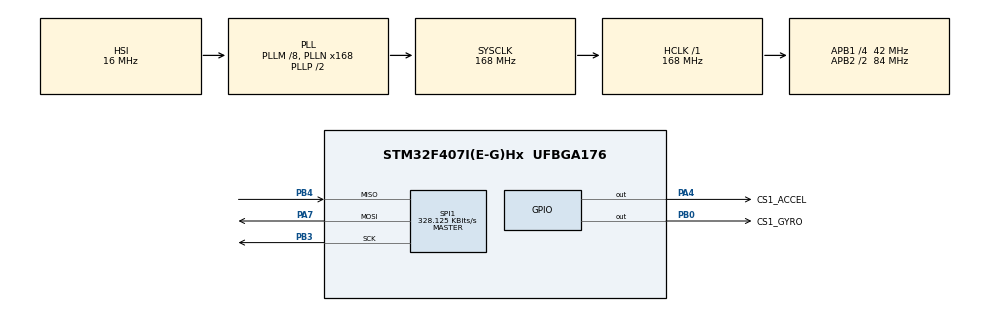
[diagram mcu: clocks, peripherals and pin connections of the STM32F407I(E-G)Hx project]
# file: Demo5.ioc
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Mcu.Family=STM32F4
Mcu.Name=STM32F407I(E-G)Hx
Mcu.Package=UFBGA176
NVIC.PriorityGroup=NVIC_PRIORITYGROUP_4
NVIC.TIM6_DAC_IRQn=true\:0\:0\:false\:false\:true\:true\:true\:true
PA13.Mode=Serial_Wire
PA13.Signal=SYS_JTMS-SWDIO
PA14.Mode=Serial_Wire
PA14.Signal=SYS_JTCK-SWCLK
PA4.GPIO_Label=CS1_ACCEL
PA4.GPIO_PuPd=GPIO_PULLUP
PA4.GPIO_Speed=GPIO_SPEED_FREQ_HIGH
PA4.PinState=GPIO_PIN_SET
PA4.Signal=GPIO_Output
PA7.Mode=Full_Duplex_Master
PA7.Signal=SPI1_MOSI
PB0.GPIO_Label=CS1_GYRO
PB0.GPIO_PuPd=GPIO_PULLUP
PB0.GPIO_Speed=GPIO_SPEED_FREQ_HIGH
PB0.PinState=GPIO_PIN_SET
PB0.Signal=GPIO_Output
PB3.Mode=Full_Duplex_Master
PB3.Signal=SPI1_SCK
PB4.Mode=Full_Duplex_Master
PB4.Signal=SPI1_MISO
PH0-OSC_IN.Mode=HSE-External-Oscillator
PH0-OSC_IN.Signal=RCC_OSC_IN
PH1-OSC_OUT.Mode=HSE-External-Oscillator
PH1-OSC_OUT.Signal=RCC_OSC_OUT
ProjectManager.HeapSize=0x200
ProjectManager.StackSize=0x400
ProjectManager.TargetToolchain=CMake
RCC.48MHZClocksFreq_Value=84000000
RCC.AHBFreq_Value=168000000
RCC.APB1CLKDivider=RCC_HCLK_DIV4
RCC.APB1Freq_Value=42000000
RCC.APB1TimFreq_Value=84000000
RCC.APB2CLKDivider=RCC_HCLK_DIV2
RCC.APB2Freq_Value=84000000
RCC.APB2TimFreq_Value=168000000
RCC.CortexFreq_Value=168000000
RCC.HCLKFreq_Value=168000000
RCC.HSE_VALUE=12000000
RCC.HSI_VALUE=16000000
RCC.LSE_VALUE=32768
RCC.PLLM=8
RCC.PLLN=168
RCC.SYSCLKFreq_VALUE=168000000
RCC.SYSCLKSource=RCC_SYSCLKSOURCE_PLLCLK
RCC.VCOOutputFreq_Value=336000000
SPI1.BaudRatePrescaler=SPI_BAUDRATEPRESCALER_256
SPI1.CLKPhase=SPI_PHASE_2EDGE
SPI1.CLKPolarity=SPI_POLARITY_HIGH
SPI1.CalculateBaudRate=328.125 KBits/s
SPI1.Direction=SPI_DIRECTION_2LINES
SPI1.Mode=SPI_MODE_MASTER
SPI1.VirtualType=VM_MASTER
TIM6.Period=1000-1
TIM6.Prescaler=180-1
VP_TIM6_VS_ClockSourceINT.Mode=Enable_Timer
board=custom

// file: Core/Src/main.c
/* USER CODE BEGIN Header */
/**
  ******************************************************************************
  * @file           : main.c
  * @brief          : Main program body
  ******************************************************************************
  * @attention
  *
  * Copyright (c) 2025 STMicroelectronics.
  * All rights reserved.
  *
  * This software is licensed under terms that can be found in the LICENSE file
  * in the root directory of this software component.
  * If no LICENSE file comes with this software, it is provided AS-IS.
  *
  ******************************************************************************
  */
/* USER CODE END Header */
#include "main.h"
#include "spi.h"
#include "tim.h"
#include "gpio.h"

/* USER CODE BEGIN Includes */
#include "bmi.h"
/* USER CODE END Includes */

void SystemClock_Config(void);
/* USER CODE BEGIN PFP */
void bmi088_init(void);
/* USER CODE END PFP */

/* USER CODE BEGIN 0 */
struct IMU {
  float acc_x;
  float acc_y;
  float acc_z;
  float angle_x;
  float angle_y;
  float angle_z;
};
struct IMU imu;

void acc_calculate(){
  // 1. 设置/读取acc0x41寄存器中的量程range参数，并换算为量程系数
  bmi088_accel_read_reg(0x41, raw_range, 2);
  float accel_range_factor;
  switch(raw_range[1] & 0x03) {  // 只考虑最低两位
    case 0x00:  // ±3g
      accel_range_factor = 3.0f * 9.81f / 32768.0f;
      break;
    case 0x01:  // ±6g
      accel_range_factor = 6.0f * 9.81f / 32768.0f;
      break;
    case 0x02:  // ±12g
      accel_range_factor = 12.0f * 9.81f / 32768.0f;
      break;
    case 0x03:  // ±24g
      accel_range_factor = 24.0f * 9.81f / 32768.0f;
      break;
  }

  // 2. 读取acc0x12寄存器中的6位acc数据
  bmi088_accel_read_reg(0x12, rx_acc_data, 7);

  // 3. 用量程系数将原始数据转换为常用单位
  int16_t raw_acc_x = (int16_t)((rx_acc_data[2] << 8) | rx_acc_data[1]);
  if (raw_acc_x > 32767) raw_acc_x -= 65536;
  int16_t raw_acc_y = (int16_t)((rx_acc_data[4] << 8) | rx_acc_data[3]);
  if (raw_acc_y > 32767) raw_acc_y -= 65536;
  int16_t raw_acc_z = (int16_t)((rx_acc_data[6] << 8) | rx_acc_data[5]);
  if (raw_acc_z > 32767) raw_acc_z -= 65536;

  float acc_x = raw_acc_x * accel_range_factor;
  float acc_y = raw_acc_y * accel_range_factor;
  float acc_z = raw_acc_z * accel_range_factor;
  // 数据转换后添加溢出处理
  if (raw_acc_x > 32767) raw_acc_x -= 65536;
  if (raw_acc_y > 32767) raw_acc_y -= 65536;
  if (raw_acc_z > 32767) raw_acc_z -= 65536;

  imu.acc_x = acc_x;
  imu.acc_y = acc_y;
  imu.acc_z = acc_z;
}

void gyro_calculate(){
  // 1. 设置/读取gyro0x0F寄存器中的量程range参数，并换算为量程系数
  uint8_t gyro_range;
  bmi088_gyro_read_reg(0x0F, &gyro_range, 1);
  float gyro_range_factor;
  switch(gyro_range & 0x03) {  // 只考虑最低两位
    case 0x00:  // ±2000°/s
      gyro_range_factor = 2000.0f / 32768.0f;
      break;
    case 0x01:  // ±1000°/s
      gyro_range_factor = 1000.0f / 32768.0f;
      break;
    case 0x02:  // ±500°/s
      gyro_range_factor = 500.0f / 32768.0f;
      break;
    case 0x03:  // ±250°/s
      gyro_range_factor = 250.0f / 32768.0f;
      break;
  }

  // 2. 读取gyro0x02寄存器中的6位gyro数据
  bmi088_gyro_read_reg(0x02, rx_gyro_data, 6);

  // 3. 用量程系数将原始数据转换为常用单位
  int16_t raw_gyro_x = (int16_t)((rx_gyro_data[1] << 8) | rx_gyro_data[0]);
  int16_t raw_gyro_y = (int16_t)((rx_gyro_data[3] << 8) | rx_gyro_data[2]);
  int16_t raw_gyro_z = (int16_t)((rx_gyro_data[5] << 8) | rx_gyro_data[4]);

  float gyro_x = raw_gyro_x * gyro_range_factor;
  float gyro_y = raw_gyro_y * gyro_range_factor;
  float gyro_z = raw_gyro_z * gyro_range_factor;

  imu.angle_x = gyro_x;
  imu.angle_y = gyro_y;
  imu.angle_z = gyro_z;
}

inline void bmi088_write_byte(uint8_t tx_data) {
  HAL_SPI_Transmit(&hspi1, &tx_data, 1, 1000);
  while (HAL_SPI_GetState(&hspi1) == HAL_SPI_STATE_BUSY_TX);
}

inline void bmi088_read_byte(uint8_t *rx_data, uint8_t length) {
  HAL_SPI_Receive(&hspi1, rx_data, length, 1000);
  while (HAL_SPI_GetState(&hspi1) == HAL_SPI_STATE_BUSY_RX);
}

inline void bmi088_write_reg(uint8_t reg, uint8_t data) {
  bmi088_write_byte(reg&0x7F);      // 寄存器地址
  bmi088_write_byte(data);     // 要写入的数据
}

inline void BMI088_ACCEL_NS_L(void) {
  HAL_GPIO_WritePin(CS1_ACCEL_GPIO_Port, CS1_ACCEL_Pin, GPIO_PIN_RESET);
}

inline void BMI088_ACCEL_NS_H(void) {
  HAL_GPIO_WritePin(CS1_ACCEL_GPIO_Port, CS1_ACCEL_Pin, GPIO_PIN_SET);
}

inline void BMI088_GYRO_NS_L(void) {
  HAL_GPIO_WritePin(CS1_GYRO_GPIO_Port, CS1_GYRO_Pin, GPIO_PIN_RESET);
}

inline void BMI088_GYRO_NS_H(void) {
  HAL_GPIO_WritePin(CS1_GYRO_GPIO_Port, CS1_GYRO_Pin, GPIO_PIN_SET);
}

// 数据读取接口
// 参考: acc写入，相当于加上片选的 bmi088_write_reg 函数
inline void bmi088_accel_write_single_reg(uint8_t reg, uint8_t data) {
  BMI088_GYRO_NS_H();
  BMI088_ACCEL_NS_L();

  bmi088_write_byte(reg & 0x7F);
  bmi088_write_byte(data);

  BMI088_ACCEL_NS_H();
}

void bmi088_accel_read_reg(uint8_t reg, uint8_t *rx_data, uint8_t length) {
  BMI088_GYRO_NS_H();
  BMI088_ACCEL_NS_L();
  HAL_Delay(1);

  bmi088_write_byte(reg | 0x80);  // 设置读取标志位
  bmi088_read_byte(rx_data, length);
  HAL_Delay(1);

  BMI088_ACCEL_NS_H();
}

void bmi088_gyro_read_reg(uint8_t reg, uint8_t *rx_data, uint8_t length) {
  BMI088_ACCEL_NS_H();
  BMI088_GYRO_NS_L();

  bmi088_write_byte(reg | 0x80);  // 设置读取标志位
  bmi088_read_byte(rx_data, length);

  BMI088_GYRO_NS_H();
}

inline void bmi088_gyro_write_single_reg(uint8_t reg, uint8_t tx_data) {
  BMI088_ACCEL_NS_H();
  BMI088_GYRO_NS_L();

  bmi088_write_byte(reg & 0x7F);  // 寄存器地址
  bmi088_write_byte(tx_data);     // 要写入的数据

  BMI088_GYRO_NS_H();
}

/* USER CODE END 0 */

int main(void)
{

  /* MCU Configuration--------------------------------------------------------*/

  /* Reset of all peripherals, Initializes the Flash interface and the Systick. */
  HAL_Init();

  /* Configure the system clock */
  SystemClock_Config();

  /* Initialize all configured peripherals */
  MX_GPIO_Init();
  MX_SPI1_Init();
  MX_TIM6_Init();
  /* USER CODE BEGIN 2 */
  bmi088_init();
  HAL_TIM_Base_Start_IT(&htim6);
  /* USER CODE END 2 */

  /* Infinite loop */
  while (1)
  {

    /* USER CODE BEGIN 3 */
    // 在此处调用读取函数// 在main()函数while(1)中增加节流机制
    static uint32_t last_tick = 0;
      if(HAL_GetTick() - last_tick >= 10){ // 每10ms读取一次
        acc_calculate();
        gyro_calculate();
        last_tick = HAL_GetTick();
}

    }

  /* USER CODE END 3 */
}

void SystemClock_Config(void)
{
  RCC_OscInitTypeDef RCC_OscInitStruct = {0};
  RCC_ClkInitTypeDef RCC_ClkInitStruct = {0};

  /** Configure the main internal regulator output voltage
  */
  __HAL_RCC_PWR_CLK_ENABLE();
  __HAL_PWR_VOLTAGESCALING_CONFIG(PWR_REGULATOR_VOLTAGE_SCALE1);

  /** Initializes the RCC Oscillators according to the specified parameters
  * in the RCC_OscInitTypeDef structure.
  */
  RCC_OscInitStruct.OscillatorType = RCC_OSCILLATORTYPE_HSI;
  RCC_OscInitStruct.HSIState = RCC_HSI_ON;
  RCC_OscInitStruct.HSICalibrationValue = RCC_HSICALIBRATION_DEFAULT;
  RCC_OscInitStruct.PLL.PLLState = RCC_PLL_ON;
  RCC_OscInitStruct.PLL.PLLSource = RCC_PLLSOURCE_HSI;
  RCC_OscInitStruct.PLL.PLLM = 8;
  RCC_OscInitStruct.PLL.PLLN = 168;
  RCC_OscInitStruct.PLL.PLLP = RCC_PLLP_DIV2;
  RCC_OscInitStruct.PLL.PLLQ = 4;
  if (HAL_RCC_OscConfig(&RCC_OscInitStruct) != HAL_OK)
  {
    Error_Handler();
  }

  /** Initializes the CPU, AHB and APB buses clocks
  */
  RCC_ClkInitStruct.ClockType = RCC_CLOCKTYPE_HCLK|RCC_CLOCKTYPE_SYSCLK
                              |RCC_CLOCKTYPE_PCLK1|RCC_CLOCKTYPE_PCLK2;
  RCC_ClkInitStruct.SYSCLKSource = RCC_SYSCLKSOURCE_PLLCLK;
  RCC_ClkInitStruct.AHBCLKDivider = RCC_SYSCLK_DIV1;
  RCC_ClkInitStruct.APB1CLKDivider = RCC_HCLK_DIV4;
  RCC_ClkInitStruct.APB2CLKDivider = RCC_HCLK_DIV2;

  if (HAL_RCC_ClockConfig(&RCC_ClkInitStruct, FLASH_LATENCY_5) != HAL_OK)
  {
    Error_Handler();
  }
}

/* USER CODE BEGIN 4 */
void bmi088_init (void) {
  // Soft Reset ACCEL
  BMI088_ACCEL_NS_L();
  bmi088_write_reg(0x7E, 0xB6); // Write 0xB6 to ACC_SOFTRESET(0x7E)
  HAL_Delay(1);
  BMI088_ACCEL_NS_H();

  // Soft Reset GYRO
  BMI088_GYRO_NS_L();
  bmi088_write_reg(0x14, 0xB6); // Write 0xB6 to GYRO_SOFTRESET(0x14)
  HAL_Delay(30);
  BMI088_GYRO_NS_H();

  // Switch ACCEL to Normal Mode
  BMI088_ACCEL_NS_L();
  HAL_Delay(1);
  bmi088_write_reg(0x7D, 0x04); // Write 0x04 to ACC_PWR_CTRL(0x7D)
  HAL_Delay(1);
  BMI088_ACCEL_NS_H();
}
/* USER CODE END 4 */

void Error_Handler(void)
{
  __disable_irq();
  while (1)
  {
  }
}
